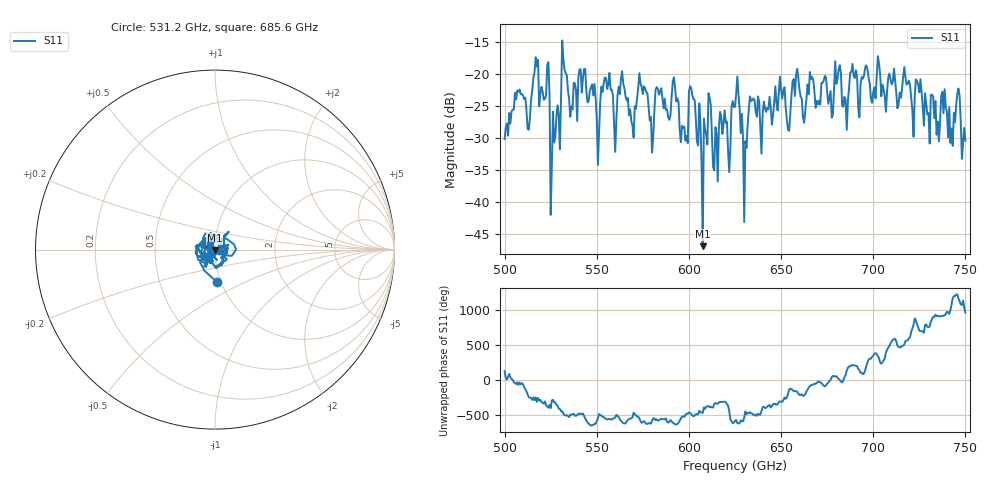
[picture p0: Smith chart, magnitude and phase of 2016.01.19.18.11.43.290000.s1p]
!Created with skrf (http://scikit-rf.org).
# GHz S RI R 50.0
!freq ReS11 ImS11
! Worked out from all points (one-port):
!   401 points, 500 GHz to 750 GHz, reference 50 ohm
!   lowest |S11| = -47.0 dB at 607.5 GHz (marker M1), VSWR 1.01, Z = 49.9 - j0.425 ohm
!   |S11| at or under -10 dB: start of sweep to end of sweep
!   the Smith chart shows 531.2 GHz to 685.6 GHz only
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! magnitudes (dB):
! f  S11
! 500 GHz  -30.2
! 506.9 GHz  -22.6
! 513.1 GHz  -28.7
! 516.9 GHz  -17.4
! 523.1 GHz  -18.6
! 526.2 GHz  -25.9
! 531.2 GHz  -14.7
! 542.5 GHz  -20.6
! 550.6 GHz  -34.2
! 562.5 GHz  -23.1
! 568.8 GHz  -27.4
! 573.8 GHz  -21.5
! 580 GHz  -32.3
! 583.1 GHz  -22.3
! 593.8 GHz  -23.8
! 598.1 GHz  -30.4
! 601.9 GHz  -23.4
! 607.5 GHz  -47.0
! 610.6 GHz  -23.0
! 614.4 GHz  -28.3
! 621.2 GHz  -32.1
! 625 GHz  -25.1
! 630.6 GHz  -30.5
! 634.4 GHz  -24.1
! 656.2 GHz  -21.2
! 687.5 GHz  -19.8
! 718.8 GHz  -21.5
! 750 GHz  -30.4
